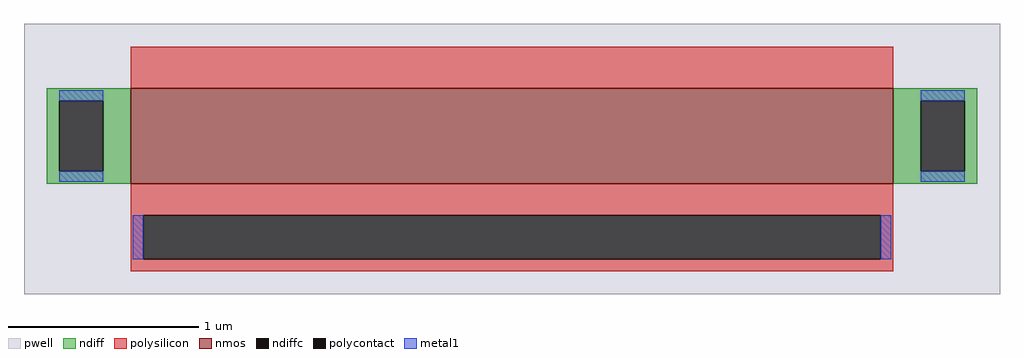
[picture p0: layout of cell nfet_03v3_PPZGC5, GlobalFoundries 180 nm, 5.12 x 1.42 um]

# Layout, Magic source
magic
tech gf180mcuD
magscale 1 10
<< pwell >>
rect -512 -142 512 142
<< nmos >>
rect -400 -26 400 74
<< ndiff >>
rect -488 61 -400 74
rect -488 -13 -475 61
rect -429 -13 -400 61
rect -488 -26 -400 -13
rect 400 61 488 74
rect 400 -13 429 61
rect 475 -13 488 61
rect 400 -26 488 -13
<< ndiffc >>
rect -475 -13 -429 61
rect 429 -13 475 61
<< polysilicon >>
rect -400 74 400 118
rect -400 -59 400 -26
rect -400 -105 -387 -59
rect 387 -105 400 -59
rect -400 -118 400 -105
<< polycontact >>
rect -387 -105 387 -59
<< metal1 >>
rect -475 61 -429 72
rect -475 -24 -429 -13
rect 429 61 475 72
rect 429 -24 475 -13
rect -398 -105 -387 -59
rect 387 -105 398 -59
<< properties >>
string gencell nfet_03v3
string library gf180mcu
string parameters w 0.5 l 4 m 1 nf 1 diffcov 100 polycov 100 guard 0 glc 0 grc 0 gtc 0 gbc 0 tbcov 100 rlcov 100 topc 0 botc 1 poverlap 0 doverlap 1 lmin 0.28 wmin 0.22 class mosfet full_metal 0 compatible {nfet_03v3 nfet_05v0 nfet_06v0 nfet_06v0_nvt}
<< end >>
